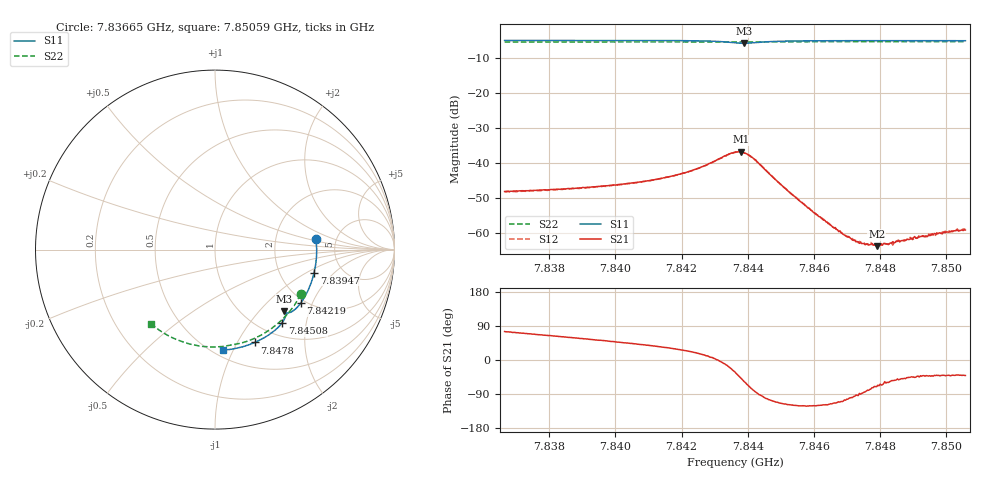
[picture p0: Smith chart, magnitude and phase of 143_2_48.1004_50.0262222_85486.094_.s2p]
#  HZ  S  RI  R  50.00
! Rohde & Schwarz Vector Network Analyzer
! Rohde-Schwarz,ZNB20-2Port,1311601062101988,3.16
! Created: UTC 12/23/2023, 3:49:00 AM
! freq[Hz]  re:S11  im:S11  re:S21  im:S21  re:S12  im:S12  re:S22  im:S22
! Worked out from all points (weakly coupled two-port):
!   401 points, 7.83665 GHz to 7.85059 GHz, reference 50 ohm
!   highest |S21| = -36.79 dB at 7.84379 GHz (marker M1); lowest = -63.8 dB at 7.8479 GHz (marker M2)
!   lowest |S11| = -5.7 dB at 7.84389 GHz (marker M3), VSWR 3.14, Z = 73.8 - j69.5 ohm
!   |S11| at or under -10 dB: nowhere
!   |S22| runs from -5.4 to -5.3 dB; largest |S21 - S12| = 0.00031
!   S11 on the Smith chart (normalised r, x): 7.83665 GHz: 3.49, +0.61; 7.83947 GHz: 3.13, -1.18; 7.84219 GHz: 1.88, -1.65; 7.84508 GHz: 1.24, -1.46; 7.8478 GHz: 0.78, -1.19; 7.85059 GHz: 0.56, -0.91
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7.836645e9  0.5629 0.0592  0.001 0.00377  0.00104 0.0037  0.4788 -0.2484
7.83898e9  0.5587 -0.0958  0.00242 0.00368  0.00241 0.00364  0.3834 -0.3806
7.839468e9  0.5522 -0.1279  0.00281 0.00365  0.00274 0.00362  0.3587 -0.4042
7.840549e9  0.531 -0.1978  0.00381 0.00356  0.00379 0.00351  0.2987 -0.4507
7.841316e9  0.5095 -0.2459  0.00485 0.00341  0.00481 0.00342  0.2526 -0.4784
7.842187e9  0.477 -0.2991  0.00685 0.00299  0.00677 0.00298  0.1971 -0.504
7.84271e9  0.4508 -0.3287  0.00895 0.00199  0.0089 0.00204  0.1623 -0.5162
7.843093e9  0.4262 -0.3466  0.0112 1.27e-05  0.0112 3.77e-05  0.1362 -0.523
7.843616e9  0.39 -0.3515  0.0122 -0.00755  0.012 -0.0074  0.1013 -0.5296
7.84379e9  0.3852 -0.3468  0.00981 -0.0106  0.00972 -0.0106  0.0901 -0.5314
7.843895e9  0.3857 -0.3447  0.00751 -0.0117  0.00764 -0.0116  0.0834 -0.5326
7.844209e9  0.3924 -0.3518  0.00147 -0.0112  0.00162 -0.011  0.0632 -0.5365
7.84508e9  0.374 -0.4081  -0.00196 -0.00411  -0.00192 -0.00413  0.00234 -0.5426
7.845951e9  0.3304 -0.4524  -0.00105 -0.00176  -0.00108 -0.00177  -0.0588 -0.5404
7.846683e9  0.2893 -0.4819  -0.000441 -0.00103  -0.000431 -0.00103  -0.1098 -0.5328
7.847206e9  0.2584 -0.4996  -8.54e-05 -0.000785  -0.000119 -0.000768  -0.1457 -0.5246
7.847485e9  0.2416 -0.5083  3.8e-05 -0.000701  4.28e-05 -0.000725  -0.1645 -0.5193
7.847799e9  0.2224 -0.5171  0.000197 -0.000638  0.000197 -0.00065  -0.1855 -0.5122
7.847903e9  0.2161 -0.5199  0.000218 -0.000605  0.000251 -0.000627  -0.1923 -0.5097
7.848286e9  0.192 -0.5292  0.000372 -0.000594  0.000402 -0.000566  -0.2174 -0.4999
7.849541e9  0.1115 -0.5517  0.000673 -0.000624  0.000722 -0.000632  -0.2951 -0.459
7.850587e9  0.0427 -0.5606  0.000827 -0.000718  0.000835 -0.000746  -0.3543 -0.4158
